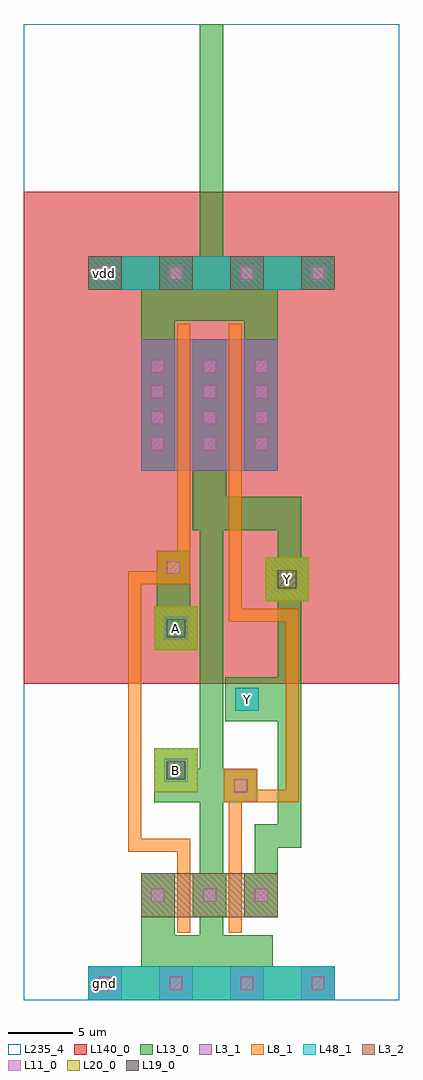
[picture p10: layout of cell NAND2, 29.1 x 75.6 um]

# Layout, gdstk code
import gdstk
lib = gdstk.Library(unit=1e-6, precision=1e-09)
def R(c, l, rs):  # rectangles x0, y0, x1, y1
    for r in rs: c.add(gdstk.rectangle(r[:2], r[2:], *l))
def A(c, l, x, y, w, h, nx, ny, dx, dy):  # array of equal rectangles
    R(c, l, [(x+i*dx, y+j*dy, x+i*dx+w, y+j*dy+h) for i in range(nx) for j in range(ny)])
def P(c, l, *ps):  # polygons
    for p in ps: c.add(gdstk.Polygon(p, *l))
L3_1 = (3, 1)
L3_2 = (3, 2)
L8_1 = (8, 1)
L11_0 = (11, 0)
L13_0 = (13, 0)
L19_0 = (19, 0)
L20_0 = (20, 0)
L48_1 = (48, 1)
L140_0 = (140, 0)
L235_4 = (235, 4)

nand2 = lib.new_cell('NAND2')
A(nand2, L3_1, 5, 0, 2.6, 2.6, 4, 1, 5.5, 0)
R(nand2, L3_1, [(9.1,41,19.7,51.2)])
A(nand2, L3_2, 5, 55, 2.6, 2.6, 4, 1, 5.5, 0)
R(nand2, L3_2, [(9.1,6.4,19.7,9.8)])
P(nand2, L8_1, [(11.9,5.2),(11.9,11.5),(8.1,11.5),(8.1,33.2),(10.3,33.2),(10.3,34.8),(11.9,34.8),(11.9,52.4),(12.9,52.4),(12.9,32.2),(9.1,32.2),(9.1,12.5),(12.9,12.5),(12.9,5.2)],
  [(15.9,5.2),(15.9,15.3),(15.5,15.3),(15.5,17.9),(18.1,17.9),(18.1,16.3),(20.3,16.3),(20.3,29.3),(15.9,29.3),(15.9,52.4),(16.9,52.4),(16.9,30.3),(21.3,30.3),(21.3,15.3),(16.9,15.3),(16.9,5.2)])
A(nand2, L11_0, 5.8, 0.8, 1, 1, 4, 2, 5.5, 55)
A(nand2, L11_0, 17.9, 42.6, 1, 1, 1, 4, 0, 2)
R(nand2, L11_0, [(9.9,7.6,10.9,8.6), (13.9,7.6,14.9,8.6), (13.9,7.6,14.9,8.6), (17.9,7.6,18.9,8.6), (16.3,16.1,17.3,17.1), (11.1,33,12.1,34), (9.9,42.6,10.9,43.6), (9.9,42.6,10.9,43.6), (9.9,42.6,10.9,43.6), (13.9,42.6,14.9,43.6), (13.9,42.6,14.9,43.6), (13.9,42.6,14.9,43.6), (13.9,42.6,14.9,43.6), (9.9,44.6,10.9,45.6), (9.9,44.6,10.9,45.6), (9.9,44.6,10.9,45.6), (13.9,44.6,14.9,45.6), (13.9,44.6,14.9,45.6), (13.9,44.6,14.9,45.6), (13.9,44.6,14.9,45.6), (9.9,46.6,10.9,47.6), (9.9,46.6,10.9,47.6), (9.9,46.6,10.9,47.6), (13.9,46.6,14.9,47.6), (13.9,46.6,14.9,47.6), (13.9,46.6,14.9,47.6), (13.9,46.6,14.9,47.6), (9.9,48.6,10.9,49.6), (9.9,48.6,10.9,49.6), (9.9,48.6,10.9,49.6), (13.9,48.6,14.9,49.6), (13.9,48.6,14.9,49.6), (13.9,48.6,14.9,49.6), (13.9,48.6,14.9,49.6)])
P(nand2, L13_0, [(10.1,27.1),(10.1,30.5),(10.3,30.5),(10.3,34.8),(12.9,34.8),(12.9,30.5),(13.5,30.5),(13.5,27.1)],
  [(5,0),(5,2.6),(9.1,2.6),(9.1,9.8),(11.7,9.8),(11.7,5),(13.65,5),(13.65,6.4),(13.1,6.4),(13.1,9.8),(13.65,9.8),(13.65,15.3),(10.1,15.3),(10.1,19.5),(13.5,19.5),(13.5,17.9),(13.65,17.9),(13.65,36.4),(13.1,36.4),(13.1,51.2),(15.7,51.2),(15.7,39),(21.5,39),(21.5,34.3),(22.1,34.3),(22.1,30.9),(21.5,30.9),(21.5,11.8),(19.7,11.8),(19.7,6.4),(17.1,6.4),(17.1,9.8),(17.9,9.8),(17.9,13.6),(19.7,13.6),(19.7,21.6),(15.6,21.6),(15.6,25),(19.7,25),(19.7,30.9),(18.7,30.9),(18.7,34.3),(19.7,34.3),(19.7,36.4),(15.45,36.4),(15.45,17.9),(18.1,17.9),(18.1,15.3),(15.45,15.3),(15.45,9.8),(15.7,9.8),(15.7,6.4),(15.45,6.4),(15.45,5),(19.3,5),(19.3,2.6),(24.1,2.6),(24.1,0)],
  [(9.1,41),(9.1,55),(5,55),(5,57.6),(13.65,57.6),(13.65,75.6),(15.45,75.6),(15.45,57.6),(24.1,57.6),(24.1,55),(19.7,55),(19.7,41),(17.1,41),(17.1,52.6),(11.7,52.6),(11.7,41)])
R(nand2, L19_0, [(11.1,17.1,12.5,18.5), (11.1,28.1,12.5,29.5), (19.7,31.9,21.1,33.3)])
R(nand2, L20_0, [(10.1,16.1,13.5,19.5), (10.1,27.1,13.5,30.5), (18.7,30.9,22.1,34.3)])
R(nand2, L48_1, [(5,0,24.1,2.6), (10.9,16.9,12.7,18.7), (16.4,22.4,18.2,24.2), (10.9,27.9,12.7,29.7), (5,55,24.1,57.6)])
R(nand2, L140_0, [(0,24.5,29.1,62.6)])
R(nand2, L235_4, [(0,0,29.1,75.6)])
nand2.add(gdstk.Label('gnd', (6.3,1.3), layer=48, texttype=0))
nand2.add(gdstk.Label('Y', (17.3,23.3), layer=48, texttype=0))
nand2.add(gdstk.Label('B', (11.8,17.8), layer=48, texttype=0))
nand2.add(gdstk.Label('A', (11.8,28.8), layer=48, texttype=0))
nand2.add(gdstk.Label('vdd', (6.3,56.3), layer=48, texttype=0))
nand2.add(gdstk.Label('A', (11.8,28.8), layer=49, texttype=0))
nand2.add(gdstk.Label('B', (11.8,17.8), layer=49, texttype=0))
nand2.add(gdstk.Label('Y', (20.4,32.6), layer=49, texttype=0))

lib.write_gds('NAND2.gds')
